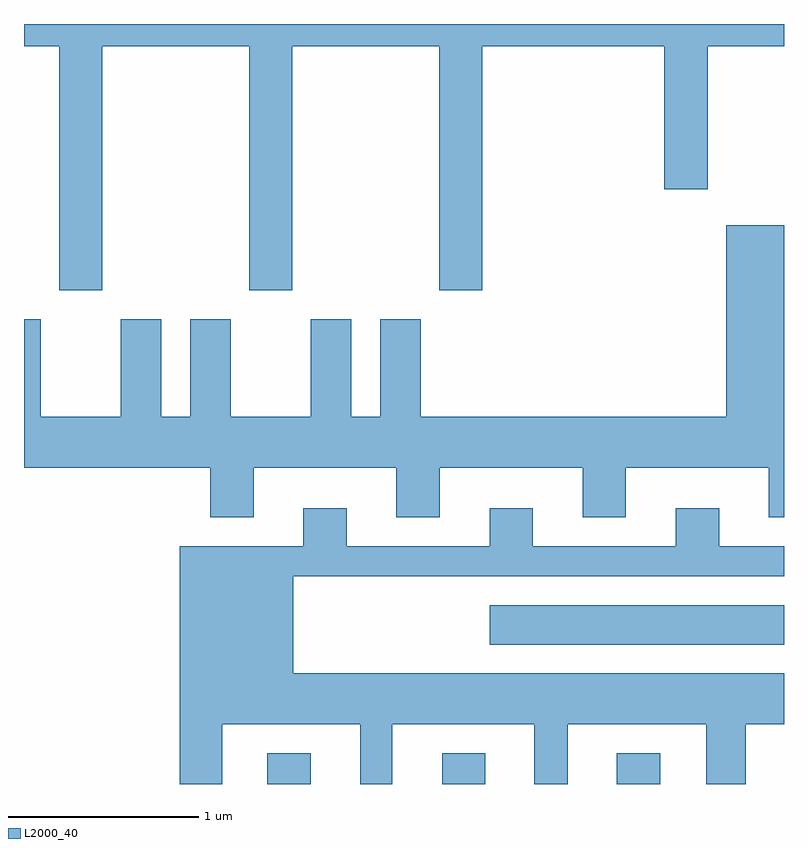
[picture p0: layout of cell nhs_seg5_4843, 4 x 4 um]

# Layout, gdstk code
import gdstk
lib = gdstk.Library(unit=1e-6, precision=1e-09)
def R(c, l, rs):  # rectangles x0, y0, x1, y1
    for r in rs: c.add(gdstk.rectangle(r[:2], r[2:], *l))
def A(c, l, x, y, w, h, nx, ny, dx, dy):  # array of equal rectangles
    R(c, l, [(x+i*dx, y+j*dy, x+i*dx+w, y+j*dy+h) for i in range(nx) for j in range(ny)])
def P(c, l, *ps):  # polygons
    for p in ps: c.add(gdstk.Polygon(p, *l))
L2000_40 = (2000, 40)

nhs_seg5_4843 = lib.new_cell('nhs_seg5_4843')
A(nhs_seg5_4843, L2000_40, 330.891, 1404.072, 0.228, 0.162, 3, 1, 0.92, 0)
R(nhs_seg5_4843, L2000_40, [(332.061,1404.806,333.611,1405.014)])
P(nhs_seg5_4843, L2000_40, [(329.611,1407.956),(329.796,1407.956),(329.796,1406.671),(330.024,1406.671),(330.024,1407.956),(330.796,1407.956),(330.796,1406.671),(331.024,1406.671),(331.024,1407.956),(331.796,1407.956),(331.796,1406.671),(332.024,1406.671),(332.024,1407.956),(332.981,1407.956),(332.981,1407.201),(333.209,1407.201),(333.209,1407.956),(333.611,1407.956),(333.611,1408.072),(329.611,1408.072)],
  [(330.819,1405.736),(331.571,1405.736),(331.571,1405.476),(331.799,1405.476),(331.799,1405.736),(332.551,1405.736),(332.551,1405.476),(332.779,1405.476),(332.779,1405.736),(333.531,1405.736),(333.531,1405.476),(333.611,1405.476),(333.611,1407.014),(333.306,1407.014),(333.306,1406.004),(331.699,1406.004),(331.699,1406.519),(331.486,1406.519),(331.486,1406.004),(331.334,1406.004),(331.334,1406.519),(331.121,1406.519),(331.121,1406.004),(330.699,1406.004),(330.699,1406.519),(330.486,1406.519),(330.486,1406.004),(330.334,1406.004),(330.334,1406.519),(330.121,1406.519),(330.121,1406.004),(329.699,1406.004),(329.699,1406.519),(329.611,1406.519),(329.611,1405.736),(330.591,1405.736),(330.591,1405.476),(330.819,1405.476)],
  [(330.654,1404.386),(331.381,1404.386),(331.381,1404.072),(331.549,1404.072),(331.549,1404.386),(332.296,1404.386),(332.296,1404.072),(332.474,1404.072),(332.474,1404.386),(333.201,1404.386),(333.201,1404.072),(333.409,1404.072),(333.409,1404.386),(333.611,1404.386),(333.611,1404.654),(331.029,1404.654),(331.029,1405.166),(333.611,1405.166),(333.611,1405.324),(333.269,1405.324),(333.269,1405.524),(333.041,1405.524),(333.041,1405.324),(332.289,1405.324),(332.289,1405.524),(332.061,1405.524),(332.061,1405.324),(331.309,1405.324),(331.309,1405.524),(331.081,1405.524),(331.081,1405.324),(330.431,1405.324),(330.431,1404.072),(330.654,1404.072)])

lib.write_gds('nhs_seg5_4843.gds')
